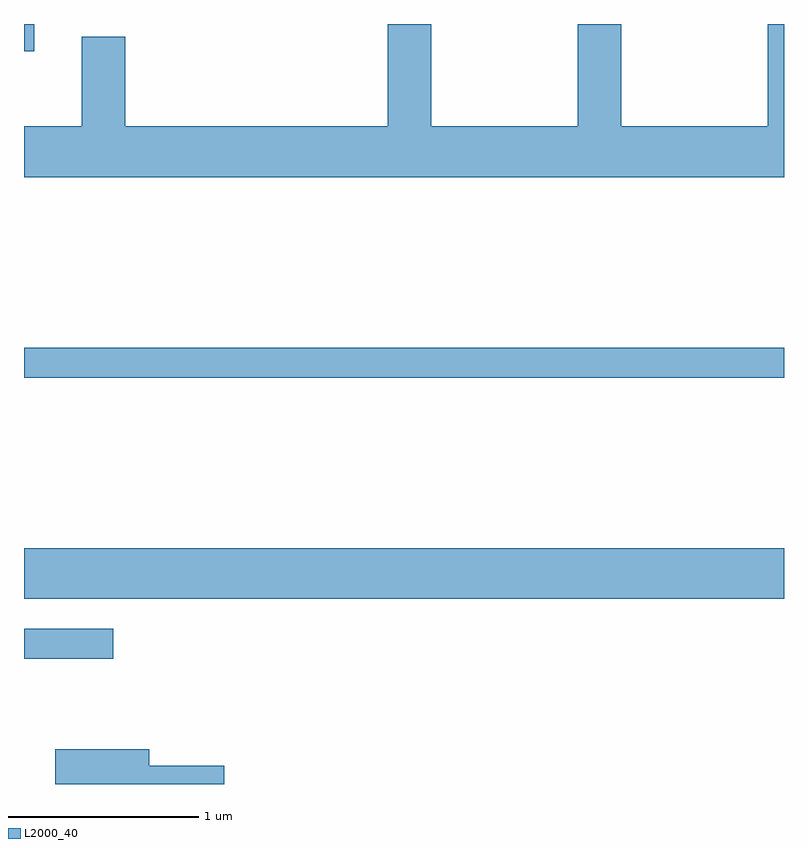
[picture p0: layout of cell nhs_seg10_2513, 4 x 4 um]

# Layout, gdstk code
import gdstk
lib = gdstk.Library(unit=1e-6, precision=1e-09)
def R(c, l, rs):  # rectangles x0, y0, x1, y1
    for r in rs: c.add(gdstk.rectangle(r[:2], r[2:], *l))
def P(c, l, *ps):  # polygons
    for p in ps: c.add(gdstk.Polygon(p, *l))
L2000_40 = (2000, 40)

nhs_seg10_2513 = lib.new_cell('nhs_seg10_2513')
R(nhs_seg10_2513, L2000_40, [(259.611,2089.181,260.082,2089.339), (259.611,2089.496,263.611,2089.764), (259.611,2090.661,263.611,2090.819), (259.611,2092.378,259.664,2092.522)])
P(nhs_seg10_2513, L2000_40, [(263.611,2092.522),(263.526,2092.522),(263.526,2091.984),(262.754,2091.984),(262.754,2092.522),(262.526,2092.522),(262.526,2091.984),(261.754,2091.984),(261.754,2092.522),(261.526,2092.522),(261.526,2091.984),(260.144,2091.984),(260.144,2092.454),(259.916,2092.454),(259.916,2091.984),(259.611,2091.984),(259.611,2091.716),(263.611,2091.716)],
  [(260.664,2088.619),(260.269,2088.619),(260.269,2088.704),(259.776,2088.704),(259.776,2088.522),(260.664,2088.522)])

lib.write_gds('nhs_seg10_2513.gds')
